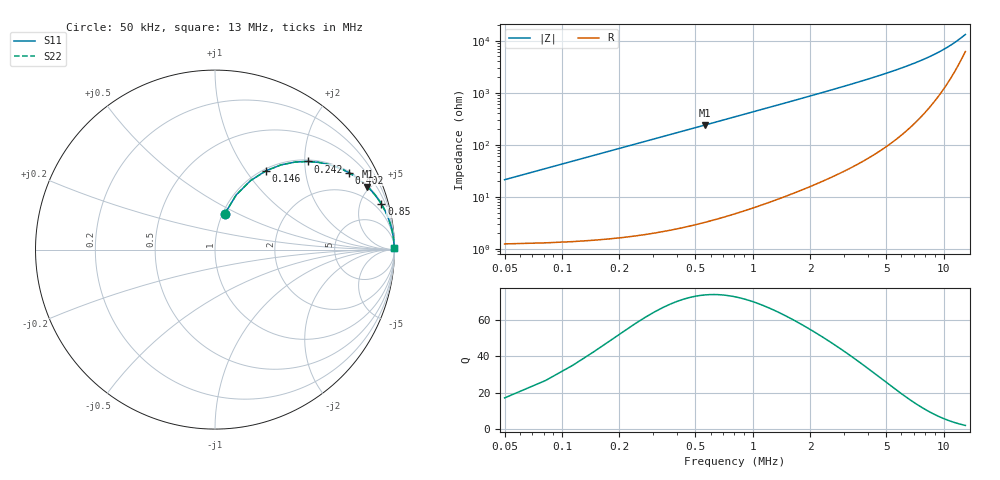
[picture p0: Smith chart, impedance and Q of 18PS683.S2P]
! Coilcraft 1812PS-683 Power Chip Inductor
! 1 October 2002
# MHZ S MA R 50
!Freq  MagS11  AngS11  MagS21  AngS21  MagS12  AngS12  MagS22  AngS22
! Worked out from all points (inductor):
!   406 points, 50 kHz to 13 MHz, reference 50 ohm
!   read as one part in series: L = 68 uH near 114 kHz
!   highest Q = 73.9 at 562 kHz (marker M1), where L = 68.1 uH
!   S11 on the Smith chart (normalised r, x): 50 kHz: 1.03, +0.43; 146 kHz: 1.03, +1.25; 242 kHz: 1.04, +2.07; 402 kHz: 1.05, +3.44; 850 kHz: 1.10, +7.28; 13 MHz: open
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0.05  0.2068 74.7  0.9664 -11.9  0.9664 -11.9  0.2068 74.7
0.082  0.3271 68.8  0.9328 -19.1  0.9328 -19.1  0.3271 68.8
0.114  0.4332 62.7  0.889 -25.7  0.889 -25.7  0.4332 62.7
0.146  0.5239 57.1  0.8395 -31.6  0.8395 -31.6  0.5239 57.1
0.178  0.5995 52.0  0.7881 -36.8  0.7881 -36.8  0.5995 52.0
0.242  0.7128 43.6  0.6892 -45.5  0.6892 -45.5  0.7128 43.6
0.306  0.7886 37.1  0.6029 -52.0  0.6029 -52.0  0.7886 37.1
0.402  0.8591 30.0  0.4998 -59.2  0.4998 -59.2  0.8591 30.0
0.466  0.8889 26.5  0.446 -62.7  0.446 -62.7  0.8889 26.5
0.562  0.9189 22.5  0.3822 -66.8  0.3822 -66.8  0.9189 22.5
0.69  0.9433 18.6  0.3194 -70.6  0.3194 -70.6  0.9433 18.6
0.85  0.9609 15.3  0.2638 -73.9  0.2638 -73.9  0.9609 15.3
1.106  0.9757 11.9  0.2055 -77.3  0.2055 -77.3  0.9757 11.9
1.426  0.9845 9.2  0.1603 -79.9  0.1603 -79.9  0.9845 9.2
1.81  0.9898 7.3  0.1263 -81.7  0.1263 -81.7  0.9898 7.3
2.226  0.9928 5.9  0.1024 -83.0  0.1024 -83.0  0.9928 5.9
3.154  0.9958 4.1  0.07102 -84.5  0.07102 -84.5  0.9958 4.1
4.37  0.9972 2.8  0.04943 -85.3  0.04943 -85.3  0.9972 2.8
6.546  0.9978 1.7  0.02979 -84.8  0.02979 -84.8  0.9978 1.7
8.69  0.9976 1.1  0.01921 -82.3  0.01921 -82.3  0.9976 1.1
10.866  0.9971 0.7  0.01222 -76.0  0.01222 -76.0  0.9971 0.7
13  0.9964 0.4  0.00757 -61.6  0.00757 -61.6  0.9964 0.4
